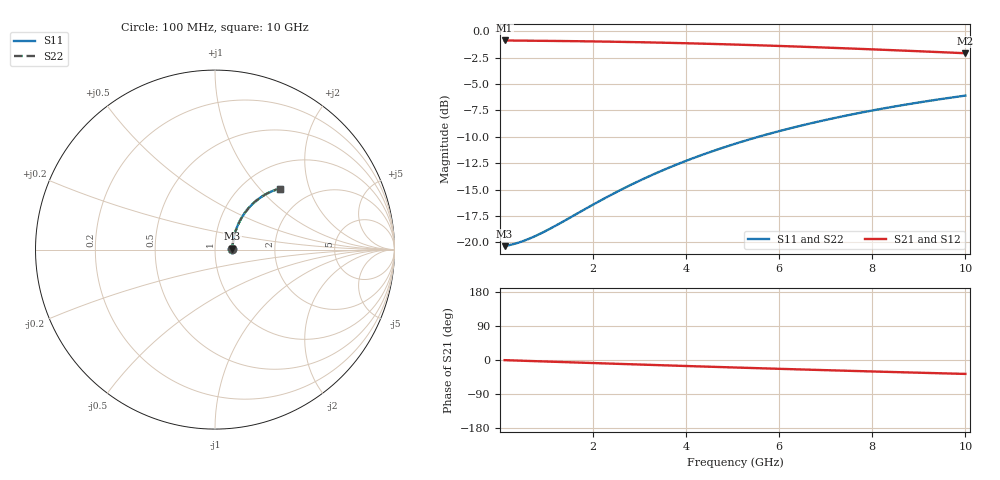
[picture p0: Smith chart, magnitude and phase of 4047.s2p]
# Hz S RI R 50.00
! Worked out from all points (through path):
!   100 points, 100 MHz to 10 GHz, reference 50 ohm
!   highest |S21| = -0.87 dB at 100 MHz (marker M1); lowest = -2.1 dB at 10 GHz (marker M2)
!   group delay of S21, straight-line fit = 10.2 ps
!   lowest |S11| = -20.4 dB at 100 MHz (marker M3), VSWR 1.21, Z = 60.6 + j0.623 ohm
!   |S11| at or under -10 dB: start of sweep to 5.558 GHz
!   |S22| runs from -20.4 to -6.1 dB; largest |S21 - S12| = 0
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1e8  0.0957 0.00509  0.9043 -0.00638  0.9043 -0.00638  0.0957 0.00509
3e8  0.097 0.0152  0.903 -0.0191  0.903 -0.0191  0.097 0.0152
4e8  0.0976 0.0203  0.9024 -0.0254  0.9024 -0.0254  0.0976 0.0203
6e8  0.0988 0.0304  0.9012 -0.0381  0.9012 -0.0381  0.0988 0.0304
8e8  0.1002 0.0404  0.8997 -0.0507  0.8997 -0.0507  0.1002 0.0404
1.2e9  0.1037 0.0603  0.8961 -0.0757  0.8961 -0.0757  0.1037 0.0603
1.8e9  0.1108 0.0895  0.8889 -0.1127  0.8889 -0.1127  0.1108 0.0895
2.2e9  0.1167 0.1086  0.8829 -0.1369  0.8829 -0.1369  0.1167 0.1086
2.6e9  0.1236 0.1272  0.8758 -0.1606  0.8758 -0.1606  0.1236 0.1272
3e9  0.1314 0.1452  0.8678 -0.1838  0.8678 -0.1838  0.1314 0.1452
3.4e9  0.1401 0.1627  0.8589 -0.2065  0.8589 -0.2065  0.1401 0.1627
3.8e9  0.1496 0.1796  0.8491 -0.2285  0.8491 -0.2285  0.1496 0.1796
4.2e9  0.1599 0.1957  0.8385 -0.2498  0.8385 -0.2498  0.1599 0.1957
4.6e9  0.171 0.2111  0.8272 -0.2704  0.8272 -0.2704  0.171 0.2111
5.1e9  0.1857 0.2294  0.812 -0.2951  0.812 -0.2951  0.1857 0.2294
5.5e9  0.1982 0.243  0.7992 -0.314  0.7992 -0.314  0.1982 0.243
5.9e9  0.2111 0.2559  0.7858 -0.3321  0.7858 -0.3321  0.2111 0.2559
6.7e9  0.2384 0.2791  0.7576 -0.3658  0.7576 -0.3658  0.2384 0.2791
7.5e9  0.2671 0.299  0.7279 -0.3961  0.7279 -0.3961  0.2671 0.299
8.4e9  0.3003 0.3173  0.6934 -0.4263  0.6934 -0.4263  0.3003 0.3173
9.2e9  0.3303 0.3302  0.6621 -0.4498  0.6621 -0.4498  0.3303 0.3302
1e10  0.3603 0.34  0.6307 -0.4702  0.6307 -0.4702  0.3603 0.34
